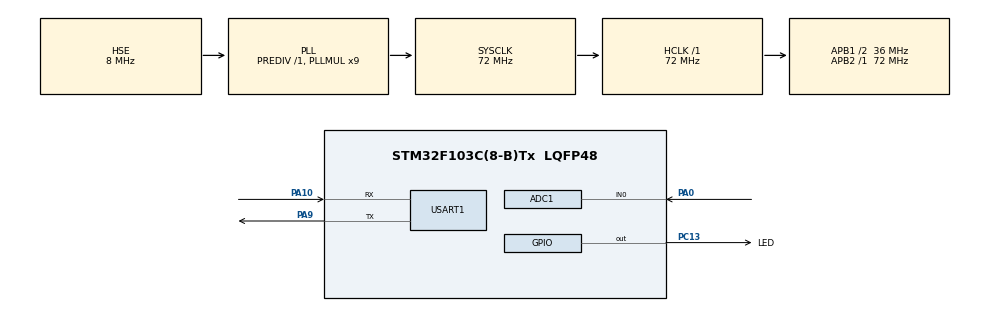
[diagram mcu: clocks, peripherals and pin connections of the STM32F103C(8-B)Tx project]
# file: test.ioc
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ADC1.Channel-0\#ChannelRegularConversion=ADC_CHANNEL_0
ADC1.ContinuousConvMode=ENABLE
ADC1.NbrOfConversionFlag=1
ADC1.Rank-0\#ChannelRegularConversion=1
ADC1.SamplingTime-0\#ChannelRegularConversion=ADC_SAMPLETIME_28CYCLES_5
ADC1.master=1
Mcu.Family=STM32F1
Mcu.Name=STM32F103C(8-B)Tx
Mcu.Package=LQFP48
NVIC.PriorityGroup=NVIC_PRIORITYGROUP_4
NVIC.USART1_IRQn=true\:0\:0\:false\:false\:true\:true\:true
PA0-WKUP.Signal=ADCx_IN0
PA10.Mode=Asynchronous
PA10.Signal=USART1_RX
PA13.Mode=Serial_Wire
PA13.Signal=SYS_JTMS-SWDIO
PA14.Mode=Serial_Wire
PA14.Signal=SYS_JTCK-SWCLK
PA9.Mode=Asynchronous
PA9.Signal=USART1_TX
PC13-TAMPER-RTC.GPIO_Label=LED
PC13-TAMPER-RTC.Signal=GPIO_Output
PC14-OSC32_IN.Mode=LSE-External-Oscillator
PC14-OSC32_IN.Signal=RCC_OSC32_IN
PC15-OSC32_OUT.Mode=LSE-External-Oscillator
PC15-OSC32_OUT.Signal=RCC_OSC32_OUT
PD0-OSC_IN.Mode=HSE-External-Oscillator
PD0-OSC_IN.Signal=RCC_OSC_IN
PD1-OSC_OUT.Mode=HSE-External-Oscillator
PD1-OSC_OUT.Signal=RCC_OSC_OUT
ProjectManager.HeapSize=0x200
ProjectManager.StackSize=0x400
ProjectManager.TargetToolchain=MDK-ARM V5.27
RCC.ADCPresc=RCC_ADCPCLK2_DIV6
RCC.AHBFreq_Value=72000000
RCC.APB1CLKDivider=RCC_HCLK_DIV2
RCC.APB1Freq_Value=36000000
RCC.APB1TimFreq_Value=72000000
RCC.APB2Freq_Value=72000000
RCC.APB2TimFreq_Value=72000000
RCC.HCLKFreq_Value=72000000
RCC.PLLMUL=RCC_PLL_MUL9
RCC.PLLSourceVirtual=RCC_PLLSOURCE_HSE
RCC.SYSCLKFreq_VALUE=72000000
RCC.SYSCLKSource=RCC_SYSCLKSOURCE_PLLCLK
RCC.USBFreq_Value=72000000
SH.ADCx_IN0.0=ADC1_IN0,IN0
USART1.VirtualMode=VM_ASYNC
board=custom

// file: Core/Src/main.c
/* USER CODE BEGIN Header */
/**
  ******************************************************************************
  * @file           : main.c
  * @brief          : Main program body
  ******************************************************************************
  * @attention
  *
  * <h2><center>&copy; Copyright (c) 2020 STMicroelectronics.
  * All rights reserved.</center></h2>
  *
  * This software component is licensed by ST under BSD 3-Clause license,
  * the "License"; You may not use this file except in compliance with the
  * License. You may obtain a copy of the License at:
  *                        opensource.org/licenses/BSD-3-Clause
  *
  ******************************************************************************
  */
/* USER CODE END Header */
#include "main.h"

/* USER CODE BEGIN Includes */
#include "stdio.h"
#include "string.h"
#include "stdlib.h"
/* USER CODE END Includes */

/* USER CODE BEGIN PTD */

#define ADC_Sample_Size 41

typedef struct{
uint16_t ADC;
float Voltage;
}ADC_Table_S;

ADC_Table_S ADC_Sample[ADC_Sample_Size]={
{0,0.000000},{0,0.050000},{57,0.099600},{113,0.145340},{190,0.206300},{233,0.241730},{300,0.294850},{352,0.334730},{401,0.373620},{478,0.436650},{524,0.475800},{585,0.523440},{675,0.595760},
{734,0.642100},{776,0.678900},{851,0.737100},{994,0.848900},{1108,0.941230},{1190,1.007710},{1289,1.086000},{1392,1.167310},{1457,1.220000},{1561,1.306000},{1683,1.400000},{1843,1.531000},
{1966,1.628000},{2160,1.780000},{2313,1.903000},{2438,2.008000},{2559,2.103000},{2720,2.235000},{2889,2.368000},{2994,2.450000},{3165,2.585800},{3320,2.713000},{3513,2.866000},{3597,2.934000},
{3661,2.987000},{3723,3.035000},{3908,3.183000},{4031,3.280000}
};
/* USER CODE END PTD */

ADC_HandleTypeDef hadc1;

UART_HandleTypeDef huart1;

/* USER CODE BEGIN PV */

uint16_t 	Adc;
float 		Voltage;

/* USER CODE END PV */

void SystemClock_Config(void);
static void MX_GPIO_Init(void);
static void MX_ADC1_Init(void);
static void MX_USART1_UART_Init(void);

/* USER CODE BEGIN 0 */
float Calculate_ADC(uint16_t Adc)
{
	int i;
	uint8_t LID=ADC_Sample_Size,HID=0;

	float DAdc,DV,M,A,B,Out;

	for(i=0;i<ADC_Sample_Size;i++)
	{
		if(ADC_Sample[i].ADC<=Adc)LID=i;
	}
	if(LID<ADC_Sample_Size-1)HID=LID+1;
	else
	{
		HID=LID;
		LID--;
	}

	if(Adc==ADC_Sample[HID].ADC)return ADC_Sample[HID].Voltage;
	if(Adc==ADC_Sample[LID].ADC)return ADC_Sample[LID].Voltage;

	DAdc=ADC_Sample[HID].ADC-ADC_Sample[LID].ADC;
	DV=ADC_Sample[HID].Voltage-ADC_Sample[LID].Voltage;

	M=(float)DV/DAdc;

	A=Adc-ADC_Sample[LID].ADC;
	B=ADC_Sample[LID].Voltage;

	Out=(A*M)+B;

	return Out;
}

uint16_t Get_ADC_Sample(void)
{
	int i;
	uint32_t sum=0;
	uint16_t adc;

	HAL_ADC_Start(&hadc1);

	for(i=0;i<200;i++)
	{
		HAL_ADC_PollForConversion(&hadc1,0xffffff);
		adc=HAL_ADC_GetValue(&hadc1);
		sum+=adc;
	}

	HAL_ADC_Stop(&hadc1);

	return ((float)sum/200.0);
}
/* USER CODE END 0 */

int main(void)
{

  /* MCU Configuration--------------------------------------------------------*/

  /* Reset of all peripherals, Initializes the Flash interface and the Systick. */
  HAL_Init();

  /* Configure the system clock */
  SystemClock_Config();

  /* Initialize all configured peripherals */
  MX_GPIO_Init();
  MX_ADC1_Init();
  MX_USART1_UART_Init();

  /* Infinite loop */
  /* USER CODE BEGIN WHILE */
  while (1)
  {
		Adc=Get_ADC_Sample();
		Voltage=Calculate_ADC(Adc);

		HAL_Delay(200);

		/* USER CODE END WHILE */

  }
}

void SystemClock_Config(void)
{
  RCC_OscInitTypeDef RCC_OscInitStruct = {0};
  RCC_ClkInitTypeDef RCC_ClkInitStruct = {0};
  RCC_PeriphCLKInitTypeDef PeriphClkInit = {0};

  /** Initializes the RCC Oscillators according to the specified parameters
  * in the RCC_OscInitTypeDef structure.
  */
  RCC_OscInitStruct.OscillatorType = RCC_OSCILLATORTYPE_HSE;
  RCC_OscInitStruct.HSEState = RCC_HSE_ON;
  RCC_OscInitStruct.HSEPredivValue = RCC_HSE_PREDIV_DIV1;
  RCC_OscInitStruct.HSIState = RCC_HSI_ON;
  RCC_OscInitStruct.PLL.PLLState = RCC_PLL_ON;
  RCC_OscInitStruct.PLL.PLLSource = RCC_PLLSOURCE_HSE;
  RCC_OscInitStruct.PLL.PLLMUL = RCC_PLL_MUL9;
  if (HAL_RCC_OscConfig(&RCC_OscInitStruct) != HAL_OK)
  {
    Error_Handler();
  }
  /** Initializes the CPU, AHB and APB buses clocks
  */
  RCC_ClkInitStruct.ClockType = RCC_CLOCKTYPE_HCLK|RCC_CLOCKTYPE_SYSCLK
                              |RCC_CLOCKTYPE_PCLK1|RCC_CLOCKTYPE_PCLK2;
  RCC_ClkInitStruct.SYSCLKSource = RCC_SYSCLKSOURCE_PLLCLK;
  RCC_ClkInitStruct.AHBCLKDivider = RCC_SYSCLK_DIV1;
  RCC_ClkInitStruct.APB1CLKDivider = RCC_HCLK_DIV2;
  RCC_ClkInitStruct.APB2CLKDivider = RCC_HCLK_DIV1;

  if (HAL_RCC_ClockConfig(&RCC_ClkInitStruct, FLASH_LATENCY_2) != HAL_OK)
  {
    Error_Handler();
  }
  PeriphClkInit.PeriphClockSelection = RCC_PERIPHCLK_ADC;
  PeriphClkInit.AdcClockSelection = RCC_ADCPCLK2_DIV6;
  if (HAL_RCCEx_PeriphCLKConfig(&PeriphClkInit) != HAL_OK)
  {
    Error_Handler();
  }
}

static void MX_ADC1_Init(void)
{

  ADC_ChannelConfTypeDef sConfig = {0};

  /** Common config
  */
  hadc1.Instance = ADC1;
  hadc1.Init.ScanConvMode = ADC_SCAN_DISABLE;
  hadc1.Init.ContinuousConvMode = ENABLE;
  hadc1.Init.DiscontinuousConvMode = DISABLE;
  hadc1.Init.ExternalTrigConv = ADC_SOFTWARE_START;
  hadc1.Init.DataAlign = ADC_DATAALIGN_RIGHT;
  hadc1.Init.NbrOfConversion = 1;
  if (HAL_ADC_Init(&hadc1) != HAL_OK)
  {
    Error_Handler();
  }
  /** Configure Regular Channel
  */
  sConfig.Channel = ADC_CHANNEL_0;
  sConfig.Rank = ADC_REGULAR_RANK_1;
  sConfig.SamplingTime = ADC_SAMPLETIME_28CYCLES_5;
  if (HAL_ADC_ConfigChannel(&hadc1, &sConfig) != HAL_OK)
  {
    Error_Handler();
  }

}

static void MX_USART1_UART_Init(void)
{

  huart1.Instance = USART1;
  huart1.Init.BaudRate = 115200;
  huart1.Init.WordLength = UART_WORDLENGTH_8B;
  huart1.Init.StopBits = UART_STOPBITS_1;
  huart1.Init.Parity = UART_PARITY_NONE;
  huart1.Init.Mode = UART_MODE_TX_RX;
  huart1.Init.HwFlowCtl = UART_HWCONTROL_NONE;
  huart1.Init.OverSampling = UART_OVERSAMPLING_16;
  if (HAL_UART_Init(&huart1) != HAL_OK)
  {
    Error_Handler();
  }

}

static void MX_GPIO_Init(void)
{
  GPIO_InitTypeDef GPIO_InitStruct = {0};

  /* GPIO Ports Clock Enable */
  __HAL_RCC_GPIOC_CLK_ENABLE();
  __HAL_RCC_GPIOD_CLK_ENABLE();
  __HAL_RCC_GPIOA_CLK_ENABLE();

  /*Configure GPIO pin Output Level */
  HAL_GPIO_WritePin(LED_GPIO_Port, LED_Pin, GPIO_PIN_RESET);

  /*Configure GPIO pin : LED_Pin */
  GPIO_InitStruct.Pin = LED_Pin;
  GPIO_InitStruct.Mode = GPIO_MODE_OUTPUT_PP;
  GPIO_InitStruct.Pull = GPIO_NOPULL;
  GPIO_InitStruct.Speed = GPIO_SPEED_FREQ_LOW;
  HAL_GPIO_Init(LED_GPIO_Port, &GPIO_InitStruct);

}

void Error_Handler(void)
{
}

/************************ (C) COPYRIGHT STMicroelectronics *****END OF FILE****/
